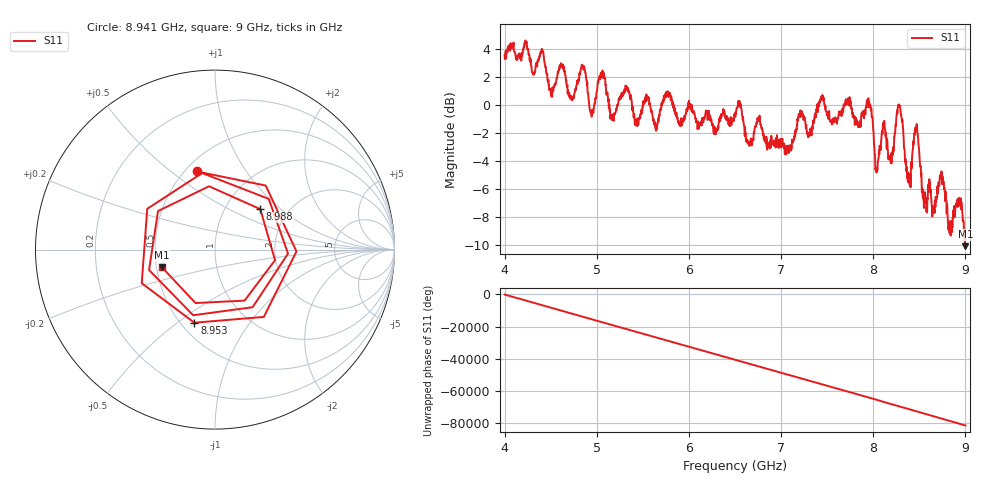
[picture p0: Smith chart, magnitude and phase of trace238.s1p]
! Created with skrf 1.8.0 (http://scikit-rf.org).
# Hz S RI R 50.0
!freq ReS11 ImS11
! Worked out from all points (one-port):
!   1601 points, 4 GHz to 9 GHz, reference 50 ohm
!   lowest |S11| = -10.1 dB at 9 GHz (marker M1), VSWR 1.91, Z = 26.7 - j5.77 ohm
!   |S11| at or under -10 dB: 8.997416 GHz to end of sweep
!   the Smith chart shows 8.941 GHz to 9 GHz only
!   S11 on the Smith chart (normalised r, x): 8.941 GHz: 0.57, +0.62; 8.953 GHz: 0.58, -0.58; 8.988 GHz: 1.45, +0.74; 9 GHz: 0.53, -0.12
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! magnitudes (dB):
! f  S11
! 4 GHz  3.6
! 4.403 GHz  4.0
! 4.509 GHz  0.7
! 4.625 GHz  2.7
! 4.728 GHz  0.3
! 4.853 GHz  2.7
! 4.944 GHz  -0.8
! 5.053 GHz  2.0
! 5.166 GHz  -1.1
! 5.25 GHz  0.6
! 5.875 GHz  -0.9
! 6.5 GHz  -0.6
! 7.125 GHz  -2.6
! 7.75 GHz  0.1
! 7.956 GHz  0.2
! 8.041 GHz  -4.6
! 8.112 GHz  -1.2
! 8.197 GHz  -4.2
! 8.284 GHz  -0.1
! 8.375 GHz  -5.4
! 8.466 GHz  -1.6
! 8.562 GHz  -6.2
! 8.747 GHz  -5.0
! 8.834 GHz  -8.3
! 8.941 GHz  -7.0
! 8.953 GHz  -7.5
! 8.988 GHz  -9.4
! 9 GHz  -10.1
